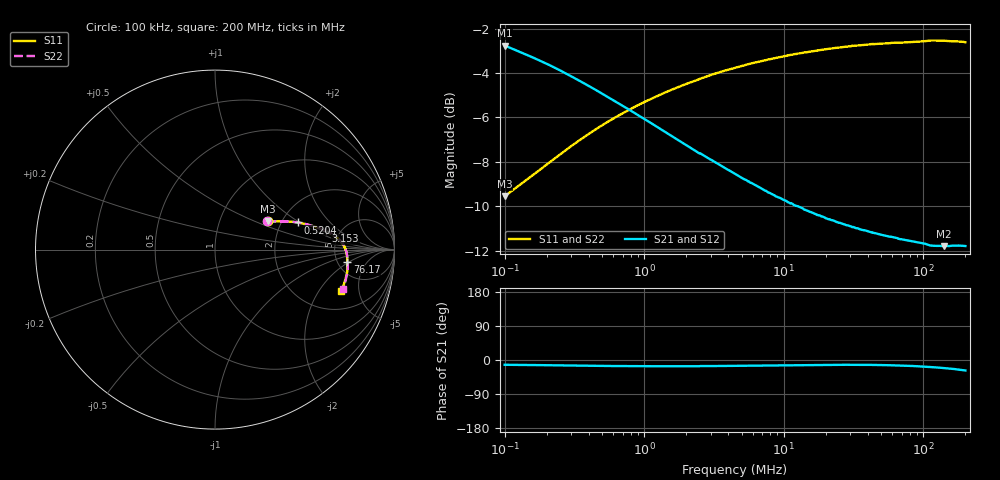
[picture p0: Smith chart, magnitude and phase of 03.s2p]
#  HZ  S  RI  R  50.00
! Rohde & Schwarz Vector Network Analyzer
! Rohde-Schwarz,ZNLE6-2Port,1323001256200024,1.71.1.10-23.02.1.238
! Created: UTC 4/11/2025, 7:47:25 AM
! freq[Hz]  re:S11  im:S11  re:S21  im:S21  re:S12  im:S12  re:S22  im:S22
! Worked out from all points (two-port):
!   1001 points, 100 kHz to 200 MHz, reference 50 ohm
!   highest |S21| = -2.76 dB at 100 kHz (marker M1); lowest = -11.8 dB at 139.9 MHz (marker M2)
!   |S21| within 3 dB of the highest: start of sweep to 832.7 kHz
!   lowest |S11| = -9.6 dB at 100 kHz (marker M3), VSWR 2.00, Z = 84.6 + j30.2 ohm
!   |S11| at or under -10 dB: nowhere
!   |S22| runs from -9.6 to -2.5 dB; largest |S21 - S12| = 0.0077
!   S11 on the Smith chart (normalised r, x): 100 kHz: 1.69, +0.60; 520.4 kHz: 2.44, +0.96; 3.153 MHz: 3.90, +1.32; 76.17 MHz: 6.09, -1.89; 200 MHz: 3.18, -3.27
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100000  0.2926 0.1587  0.7101 -0.159  0.7106 -0.159  0.2924 0.1586
198195  0.3586 0.1573  0.6439 -0.1579  0.6444 -0.1579  0.3583 0.1572
355854.1  0.4206 0.1558  0.5817 -0.1566  0.5822 -0.1566  0.4205 0.1558
520383.5  0.461 0.1511  0.5416 -0.1525  0.542 -0.1526  0.4607 0.151
1266322  0.5464 0.1312  0.4554 -0.1351  0.4556 -0.1353  0.5462 0.1313
2397897  0.5983 0.1123  0.4018 -0.1185  0.402 -0.1183  0.5982 0.1122
2607005  0.6057 0.1074  0.3974 -0.1136  0.3956 -0.1187  0.6051 0.111
3152591  0.6192 0.1028  0.3837 -0.1096  0.3827 -0.1113  0.619 0.1046
4472136  0.6421 0.0908  0.3608 -0.0992  0.3593 -0.1021  0.6419 0.0928
8796434  0.68 0.0636  0.3228 -0.0808  0.3221 -0.0875  0.6789 0.0681
1.591428e7  0.7048 0.041  0.2981 -0.0697  0.2972 -0.0723  0.7047 0.0437
2.945577e7  0.7247 0.00968  0.2787 -0.0629  0.2783 -0.0638  0.7244 0.0122
3.616581e7  0.7295 -0.00677  0.273 -0.0615  0.2715 -0.0669  0.7291 -0.00052
3.931964e7  0.7312 -0.00922  0.2713 -0.0622  0.2709 -0.0631  0.7309 -0.0061
4.27485e7  0.733 -0.0199  0.269 -0.0619  0.2678 -0.0689  0.7325 -0.012
5.663162e7  0.7353 -0.0409  0.2625 -0.0642  0.2609 -0.0687  0.7363 -0.0339
6.299027e7  0.7368 -0.048  0.2603 -0.0665  0.26 -0.0675  0.7373 -0.0433
6.848331e7  0.7365 -0.0612  0.258 -0.0668  0.2567 -0.0744  0.7379 -0.051
7.617267e7  0.7365 -0.0701  0.2558 -0.0694  0.2541 -0.0742  0.7384 -0.0616
1.056193e8  0.7369 -0.1101  0.2466 -0.0806  0.2449 -0.0854  0.7395 -0.1004
1.399206e8  0.7288 -0.1597  0.2398 -0.0926  0.2381 -0.0965  0.7334 -0.148
2e8  0.7029 -0.2319  0.2276 -0.1198  0.2253 -0.1238  0.7126 -0.2196
